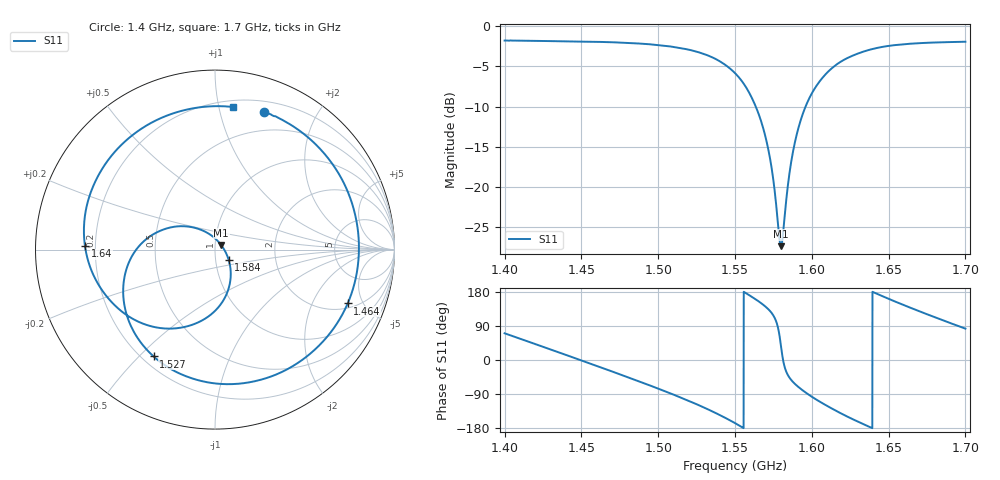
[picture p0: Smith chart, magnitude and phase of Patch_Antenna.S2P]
!Keysight Technologies,E5063A,MY54503975,A.05.08
!Date: Thu Mar 06 03:50:43 2025
!Data & Calibration Information:
!Freq	S11:NONE(--)	S21:RESPT(ON)	S12:NONE(--)	S22:NONE(--)
# Hz S RI R 50
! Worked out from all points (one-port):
!   3001 points, 1.4 GHz to 1.7 GHz, reference 50 ohm
!   lowest |S11| = -27.4 dB at 1.58 GHz (marker M1), VSWR 1.09, Z = 53.4 + j2.81 ohm
!   |S11| at or under -10 dB: 1.564 GHz to 1.596 GHz (32.44 MHz wide, 2.05 % of centre)
!   S11 on the Smith chart (normalised r, x): 1.4 GHz: 0.30, +1.37; 1.464 GHz: 2.30, -3.80; 1.527 GHz: 0.25, -0.55; 1.584 GHz: 1.16, -0.14; 1.64 GHz: 0.16, +0.01; 1.7 GHz: 0.25, +1.10
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1.4e9  0.2725 0.7679  -0 -0  0 0  0 0
1.4272e9  0.6884 0.4246  0 -0  0 0  0 0
1.45e9  0.8016 -0.0157  -0 0  0 0  0 0
1.4644e9  0.7394 -0.2997  -0 0  0 0  0 0
1.4836e9  0.4991 -0.6049  0 -0  0 0  0 0
1.5e9  0.1914 -0.7394  0 -0  0 0  0 0
1.5135e9  -0.0903 -0.7285  0 0  0 0  0 0
1.5268e9  -0.342 -0.5953  0 0  0 0  0 0
1.5391e9  -0.4912 -0.3663  0 -0  0 0  0 0
1.55e9  -0.4966 -0.1194  0 -0  0 0  0 0
1.5599e9  -0.3687 0.0691  0 -0  0 0  0 0
1.5686e9  -0.1864 0.1304  0 0  0 0  0 0
1.5737e9  -0.0766 0.1097  0 0  0 0  0 0
1.5799e9  0.0338 0.0263  0 0  0 0  0 0
1.5841e9  0.0765 -0.0583  0 0  0 0  0 0
1.5905e9  0.0797 -0.2027  0 0  0 0  0 0
1.6e9  -0.0462 -0.379  0 -0  0 0  0 0
1.617e9  -0.4259 -0.4022  -0 0  0 0  0 0
1.6403e9  -0.7243 0.0189  -0 -0  0 0  0 0
1.65e9  -0.7155 0.2397  -0 -0  0 0  0 0
1.676e9  -0.3852 0.6892  -0 -0  0 0  0 0
1.7e9  0.1006 0.7946  -0 -0  0 0  0 0
